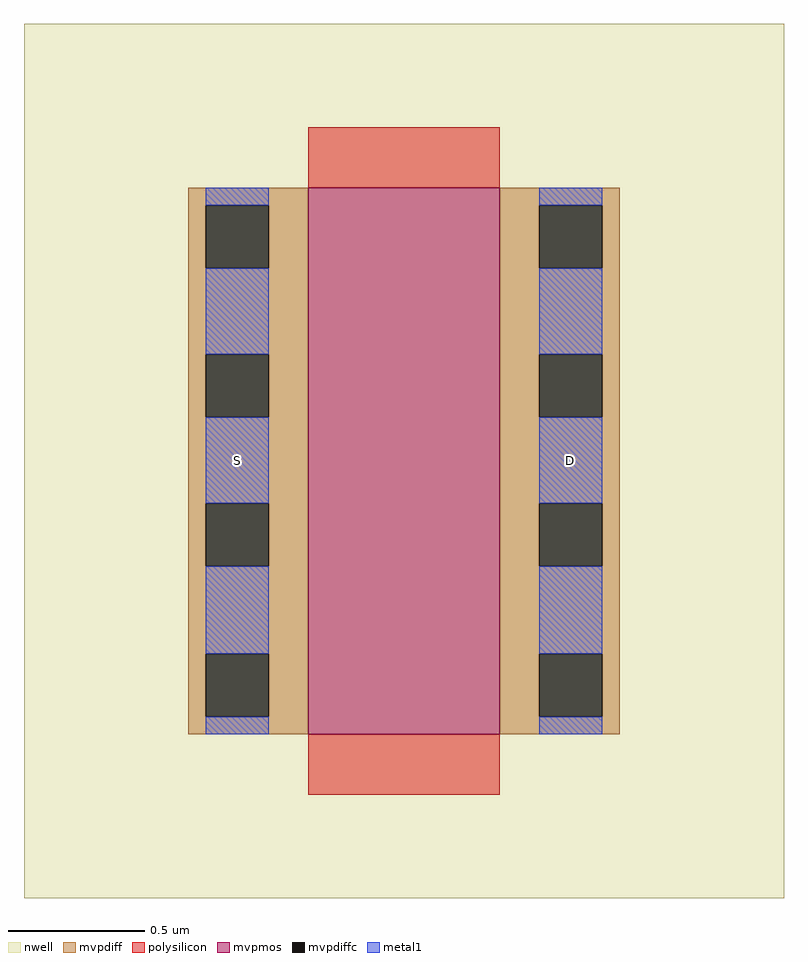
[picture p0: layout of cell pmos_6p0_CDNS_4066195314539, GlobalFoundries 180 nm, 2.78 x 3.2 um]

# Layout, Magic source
magic
tech gf180mcuD
magscale 1 10
<< nwell >>
rect -208 -120 348 520
<< mvpmos >>
rect 0 0 140 400
<< mvpdiff >>
rect -88 387 0 400
rect -88 341 -75 387
rect -29 341 0 387
rect -88 278 0 341
rect -88 232 -75 278
rect -29 232 0 278
rect -88 169 0 232
rect -88 123 -75 169
rect -29 123 0 169
rect -88 59 0 123
rect -88 13 -75 59
rect -29 13 0 59
rect -88 0 0 13
rect 140 387 228 400
rect 140 341 169 387
rect 215 341 228 387
rect 140 278 228 341
rect 140 232 169 278
rect 215 232 228 278
rect 140 169 228 232
rect 140 123 169 169
rect 215 123 228 169
rect 140 59 228 123
rect 140 13 169 59
rect 215 13 228 59
rect 140 0 228 13
<< mvpdiffc >>
rect -75 341 -29 387
rect -75 232 -29 278
rect -75 123 -29 169
rect -75 13 -29 59
rect 169 341 215 387
rect 169 232 215 278
rect 169 123 215 169
rect 169 13 215 59
<< polysilicon >>
rect 0 400 140 444
rect 0 -44 140 0
<< metal1 >>
rect -75 387 -29 400
rect -75 278 -29 341
rect -75 169 -29 232
rect -75 59 -29 123
rect -75 0 -29 13
rect 169 387 215 400
rect 169 278 215 341
rect 169 169 215 232
rect 169 59 215 123
rect 169 0 215 13
<< labels >>
rlabel metal1 192 200 192 200 4 D
rlabel metal1 -52 200 -52 200 4 S
<< end >>
